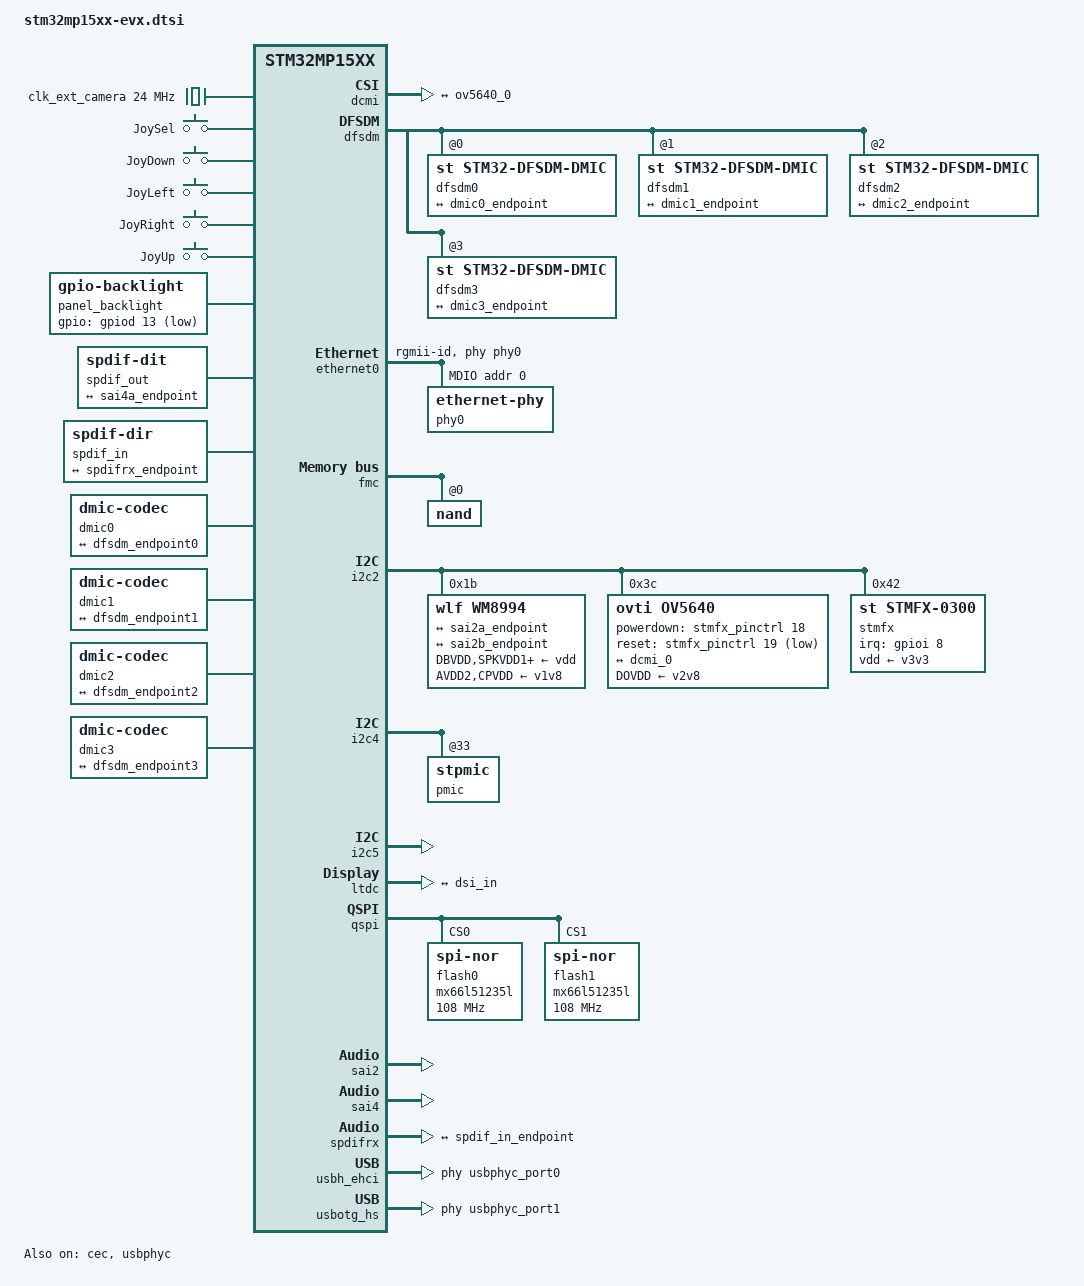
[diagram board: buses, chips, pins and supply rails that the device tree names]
// SPDX-License-Identifier: (GPL-2.0+ OR BSD-3-Clause)
/*
 * Copyright (C) STMicroelectronics 2017 - All Rights Reserved
 * Author: Ludovic Barre <ludovic.barre@st.com> for STMicroelectronics.
 */

#include <dt-bindings/input/input.h>
#include <dt-bindings/soc/stm32-hdp.h>

/ {
	clocks {
		clk_ext_camera: clk-ext-camera {
			#clock-cells = <0>;
			compatible = "fixed-clock";
			clock-frequency = <24000000>;
		};
	};

	joystick {
		compatible = "gpio-keys";
		#size-cells = <0>;
		pinctrl-0 = <&joystick_pins>;
		pinctrl-names = "default";
		button-0 {
			label = "JoySel";
			linux,code = <KEY_ENTER>;
			interrupt-parent = <&stmfx_pinctrl>;
			interrupts = <0 IRQ_TYPE_EDGE_RISING>;
		};
		button-1 {
			label = "JoyDown";
			linux,code = <KEY_DOWN>;
			interrupt-parent = <&stmfx_pinctrl>;
			interrupts = <1 IRQ_TYPE_EDGE_RISING>;
		};
		button-2 {
			label = "JoyLeft";
			linux,code = <KEY_LEFT>;
			interrupt-parent = <&stmfx_pinctrl>;
			interrupts = <2 IRQ_TYPE_EDGE_RISING>;
		};
		button-3 {
			label = "JoyRight";
			linux,code = <KEY_RIGHT>;
			interrupt-parent = <&stmfx_pinctrl>;
			interrupts = <3 IRQ_TYPE_EDGE_RISING>;
		};
		button-4 {
			label = "JoyUp";
			linux,code = <KEY_UP>;
			interrupt-parent = <&stmfx_pinctrl>;
			interrupts = <4 IRQ_TYPE_EDGE_RISING>;
		};
	};

	panel_backlight: panel-backlight {
		compatible = "gpio-backlight";
		gpios = <&gpiod 13 GPIO_ACTIVE_LOW>;
		default-on;
		status = "okay";
	};

	spdif_out: spdif-out {
		#sound-dai-cells = <0>;
		compatible = "linux,spdif-dit";
		status = "okay";

		spdif_out_port: port {
			spdif_out_endpoint: endpoint {
				remote-endpoint = <&sai4a_endpoint>;
			};
		};
	};

	spdif_in: spdif-in {
		#sound-dai-cells = <0>;
		compatible = "linux,spdif-dir";
		status = "okay";

		spdif_in_port: port {
			spdif_in_endpoint: endpoint {
				remote-endpoint = <&spdifrx_endpoint>;
			};
		};
	};

	sound {
		compatible = "audio-graph-card";
		label = "STM32MP1-EV";
		routing =
			"AIF1CLK" , "MCLK1",
			"AIF2CLK" , "MCLK1",
			"IN1LN" , "MICBIAS2",
			"DMIC2DAT" , "MICBIAS1",
			"DMIC1DAT" , "MICBIAS1";
		dais = <&sai2a_port &sai2b_port &sai4a_port &spdifrx_port
			&dfsdm0_port &dfsdm1_port &dfsdm2_port &dfsdm3_port>;
		status = "okay";
	};

	dmic0: dmic-0 {
		compatible = "dmic-codec";
		#sound-dai-cells = <1>;
		sound-name-prefix = "dmic0";
		status = "okay";

		port {
			dmic0_endpoint: endpoint {
				remote-endpoint = <&dfsdm_endpoint0>;
			};
		};
	};

	dmic1: dmic-1 {
		compatible = "dmic-codec";
		#sound-dai-cells = <1>;
		sound-name-prefix = "dmic1";
		status = "okay";

		port {
			dmic1_endpoint: endpoint {
				remote-endpoint = <&dfsdm_endpoint1>;
			};
		};
	};

	dmic2: dmic-2 {
		compatible = "dmic-codec";
		#sound-dai-cells = <1>;
		sound-name-prefix = "dmic2";
		status = "okay";

		port {
			dmic2_endpoint: endpoint {
				remote-endpoint = <&dfsdm_endpoint2>;
			};
		};
	};

	dmic3: dmic-3 {
		compatible = "dmic-codec";
		#sound-dai-cells = <1>;
		sound-name-prefix = "dmic3";
		status = "okay";

		port {
			dmic3_endpoint: endpoint {
				remote-endpoint = <&dfsdm_endpoint3>;
			};
		};
	};

	usb_phy_tuning: usb-phy-tuning {
		st,hs-dc-level = <2>;
		st,fs-rftime-tuning;
		st,hs-rftime-reduction;
		st,hs-current-trim = <15>;
		st,hs-impedance-trim = <1>;
		st,squelch-level = <3>;
		st,hs-rx-offset = <2>;
		st,no-lsfs-sc;
	};
};

&cec {
	pinctrl-names = "default";
	pinctrl-0 = <&cec_pins_a>;
	status = "okay";
};

&dcmi {
	status = "okay";
	pinctrl-names = "default", "sleep";
	pinctrl-0 = <&dcmi_pins_a>;
	pinctrl-1 = <&dcmi_sleep_pins_a>;

	port {
		dcmi_0: endpoint {
			remote-endpoint = <&ov5640_0>;
			bus-width = <8>;
			hsync-active = <0>;
			vsync-active = <0>;
			pclk-sample = <1>;
			pclk-max-frequency = <77000000>;
		};
	};
};

&dfsdm {
	pinctrl-names = "default", "sleep";
	pinctrl-0 = <&dfsdm_clkout_pins_a
		     &dfsdm_data1_pins_a &dfsdm_data3_pins_a>;
	pinctrl-1 = <&dfsdm_clkout_sleep_pins_a
		     &dfsdm_data1_sleep_pins_a &dfsdm_data3_sleep_pins_a>;
	spi-max-frequency = <2048000>;

	clocks = <&rcc DFSDM_K>, <&rcc ADFSDM_K>;
	clock-names = "dfsdm", "audio";
	status = "okay";

	dfsdm0: filter@0 {
		compatible = "st,stm32-dfsdm-dmic";
		st,adc-channels = <3>;
		st,adc-channel-names = "dmic_u1";
		st,adc-channel-types = "SPI_R";
		st,adc-channel-clk-src = "CLKOUT";
		st,filter-order = <3>;
		status = "okay";

		asoc_pdm0: dfsdm-dai {
			compatible = "st,stm32h7-dfsdm-dai";
			#sound-dai-cells = <0>;
			io-channels = <&dfsdm0 0>;
			status = "okay";

			dfsdm0_port: port {
				dfsdm_endpoint0: endpoint {
					remote-endpoint = <&dmic0_endpoint>;
				};
			};
		};
	};

	dfsdm1: filter@1 {
		compatible = "st,stm32-dfsdm-dmic";
		st,adc-channels = <1>;
		st,adc-channel-names = "dmic_u2";
		st,adc-channel-types = "SPI_F";
		st,adc-channel-clk-src = "CLKOUT";
		st,filter-order = <3>;
		status = "okay";

		asoc_pdm1: dfsdm-dai {
			compatible = "st,stm32h7-dfsdm-dai";
			#sound-dai-cells = <0>;
			io-channels = <&dfsdm1 0>;
			status = "okay";

			dfsdm1_port: port {
				dfsdm_endpoint1: endpoint {
					remote-endpoint = <&dmic1_endpoint>;
				};
			};
		};
	};

	dfsdm2: filter@2 {
		compatible = "st,stm32-dfsdm-dmic";
		st,adc-channels = <3>;
		st,adc-channel-names = "dmic_u3";
		st,adc-channel-types = "SPI_F";
		st,adc-channel-clk-src = "CLKOUT";
		st,filter-order = <3>;
		status = "okay";

		asoc_pdm2: dfsdm-dai {
			compatible = "st,stm32h7-dfsdm-dai";
			#sound-dai-cells = <0>;
			io-channels = <&dfsdm2 0>;
			status = "okay";

			dfsdm2_port: port {
				dfsdm_endpoint2: endpoint {
					remote-endpoint = <&dmic2_endpoint>;
				};
			};
		};
	};

	dfsdm3: filter@3 {
		compatible = "st,stm32-dfsdm-dmic";
		st,adc-channels = <1>;
		st,adc-channel-names = "dmic_u4";
		st,adc-channel-types = "SPI_R";
		st,adc-channel-clk-src = "CLKOUT";
		st,filter-order = <3>;
		status = "okay";

		asoc_pdm3: dfsdm-dai {
			compatible = "st,stm32h7-dfsdm-dai";
			#sound-dai-cells = <0>;
			io-channels = <&dfsdm3 0>;
			status = "okay";

			dfsdm3_port: port {
				dfsdm_endpoint3: endpoint {
					remote-endpoint = <&dmic3_endpoint>;
				};
			};
		};
	};
};

&ethernet0 {
	status = "okay";
	pinctrl-0 = <&ethernet0_rgmii_pins_a>;
	pinctrl-1 = <&ethernet0_rgmii_pins_sleep_a>;
	pinctrl-names = "default", "sleep";
	phy-mode = "rgmii-id";
	max-speed = <1000>;
	phy-handle = <&phy0>;

	mdio0 {
		#address-cells = <1>;
		#size-cells = <0>;
		compatible = "snps,dwmac-mdio";
		phy0: ethernet-phy@0 {
			reg = <0>;
		};
	};
};

&fmc {
	pinctrl-names = "default", "sleep";
	pinctrl-0 = <&fmc_pins_a>;
	pinctrl-1 = <&fmc_sleep_pins_a>;
	status = "okay";
	#address-cells = <1>;
	#size-cells = <0>;

	nand@0 {
		reg = <0>;
		nand-on-flash-bbt;
		#address-cells = <1>;
		#size-cells = <1>;
	};
};

&hdp {
	pinctrl-names = "default", "sleep";
	pinctrl-0 = <&hdp0_pins_a &hdp6_pins_a &hdp7_pins_a>;
	pinctrl-1 = <&hdp0_pins_sleep_a &hdp6_pins_sleep_a &hdp7_pins_sleep_a>;
	status = "disabled";

	muxing-hdp = <(STM32_HDP(0, HDP0_GPOVAL_0) |
		       STM32_HDP(6, HDP6_GPOVAL_6) |
		       STM32_HDP(7, HDP7_GPOVAL_7))>;
};

&i2c2 {
	pinctrl-names = "default", "sleep";
	pinctrl-0 = <&i2c2_pins_a>;
	pinctrl-1 = <&i2c2_pins_sleep_a>;
	i2c-scl-rising-time-ns = <185>;
	i2c-scl-falling-time-ns = <20>;
	status = "okay";
	/delete-property/dmas;
	/delete-property/dma-names;

	wm8994: wm8994@1b {
		compatible = "wlf,wm8994";
		#sound-dai-cells = <0>;
		reg = <0x1b>;
		status = "okay";

		gpio-controller;
		#gpio-cells = <2>;

		DBVDD-supply = <&vdd>;
		SPKVDD1-supply = <&vdd>;
		SPKVDD2-supply = <&vdd>;
		AVDD2-supply = <&v1v8>;
		CPVDD-supply = <&v1v8>;

		wlf,ldoena-always-driven;

		clocks = <&sai2a>;
		clock-names = "MCLK1";

		wlf,gpio-cfg = <0x8101 0xa100 0xa100 0xa100 0xa101 0xa101 0xa100 0xa101 0xa101 0xa101 0xa101>;

		ports {
			#address-cells = <1>;
			#size-cells = <0>;

			wm8994_tx_port: port@0 {
				reg = <0>;
				wm8994_tx_endpoint: endpoint {
					remote-endpoint = <&sai2a_endpoint>;
				};
			};

			wm8994_rx_port: port@1 {
				reg = <1>;
				wm8994_rx_endpoint: endpoint {
					remote-endpoint = <&sai2b_endpoint>;
				};
			};
		};
	};

	ov5640: camera@3c {
		compatible = "ovti,ov5640";
		reg = <0x3c>;
		clocks = <&clk_ext_camera>;
		clock-names = "xclk";
		DOVDD-supply = <&v2v8>;
		powerdown-gpios = <&stmfx_pinctrl 18 (GPIO_ACTIVE_HIGH | GPIO_PUSH_PULL)>;
		reset-gpios = <&stmfx_pinctrl 19 (GPIO_ACTIVE_LOW | GPIO_PUSH_PULL)>;
		rotation = <180>;
		status = "okay";

		port {
			ov5640_0: endpoint {
				remote-endpoint = <&dcmi_0>;
				bus-width = <8>;
				data-shift = <2>; /* lines 9:2 are used */
				hsync-active = <0>;
				vsync-active = <0>;
				pclk-sample = <1>;
				pclk-max-frequency = <77000000>;
			};
		};
	};

	stmfx: stmfx@42 {
		compatible = "st,stmfx-0300";
		reg = <0x42>;
		interrupts = <8 IRQ_TYPE_EDGE_RISING>;
		interrupt-parent = <&gpioi>;
		vdd-supply = <&v3v3>;

		stmfx_pinctrl: stmfx-pin-controller {
			compatible = "st,stmfx-0300-pinctrl";
			gpio-controller;
			#gpio-cells = <2>;
			interrupt-controller;
			#interrupt-cells = <2>;
			gpio-ranges = <&stmfx_pinctrl 0 0 24>;

			goodix_pins: goodix {
				pins = "gpio14";
				bias-pull-down;
			};

			joystick_pins: joystick {
				pins = "gpio0", "gpio1", "gpio2", "gpio3", "gpio4";
				bias-pull-down;
			};
		};
	};
};

&i2c4 {
	pmic: stpmic@33 {
		regulators {
			v1v8: ldo6 {
				regulator-enable-ramp-delay = <300000>;
			};
		};
	};
};

&i2c5 {
	pinctrl-names = "default", "sleep";
	pinctrl-0 = <&i2c5_pins_a>;
	pinctrl-1 = <&i2c5_pins_sleep_a>;
	i2c-scl-rising-time-ns = <185>;
	i2c-scl-falling-time-ns = <20>;
	/delete-property/dmas;
	/delete-property/dma-names;
	status = "okay";
};

&ltdc {
	status = "okay";

	port {
		#address-cells = <1>;
		#size-cells = <0>;

		ltdc_ep0_out: endpoint@0 {
			reg = <0>;
			remote-endpoint = <&dsi_in>;
		};
	};
};

&qspi {
	pinctrl-names = "default", "sleep";
	pinctrl-0 = <&qspi_clk_pins_a &qspi_bk1_pins_a &qspi_bk2_pins_a>;
	pinctrl-1 = <&qspi_clk_sleep_pins_a &qspi_bk1_sleep_pins_a &qspi_bk2_sleep_pins_a>;
	reg = <0x58003000 0x1000>, <0x70000000 0x4000000>;
	#address-cells = <1>;
	#size-cells = <0>;
	status = "okay";

	flash0: mx66l51235l@0 {
		compatible = "jedec,spi-nor";
		reg = <0>;
		spi-rx-bus-width = <4>;
		spi-max-frequency = <108000000>;
		#address-cells = <1>;
		#size-cells = <1>;
	};

	flash1: mx66l51235l@1 {
		compatible = "jedec,spi-nor";
		reg = <1>;
		spi-rx-bus-width = <4>;
		spi-max-frequency = <108000000>;
		#address-cells = <1>;
		#size-cells = <1>;
	};
};

&sai2 {
	clocks = <&rcc SAI2>, <&rcc PLL3_Q>, <&rcc PLL3_R>;
	pinctrl-names = "default", "sleep";
	pinctrl-0 = <&sai2a_pins_a>, <&sai2b_pins_a>;
	pinctrl-1 = <&sai2a_sleep_pins_a>, <&sai2b_sleep_pins_a>;
	clock-names = "pclk", "x8k", "x11k";
	status = "okay";

	sai2a: audio-controller@4400b004 {
		#clock-cells = <0>;
		dma-names = "tx";
		clocks = <&rcc SAI2_K>;
		clock-names = "sai_ck";
		status = "okay";

		sai2a_port: port {
			sai2a_endpoint: endpoint {
				remote-endpoint = <&wm8994_tx_endpoint>;
				format = "i2s";
				mclk-fs = <256>;
			};
		};
	};

	sai2b: audio-controller@4400b024 {
		dma-names = "rx";
		clocks = <&rcc SAI2_K>, <&sai2a>;
		clock-names = "sai_ck", "MCLK";
		status = "okay";

		sai2b_port: port {
			sai2b_endpoint: endpoint {
				remote-endpoint = <&wm8994_rx_endpoint>;
				format = "i2s";
				mclk-fs = <256>;
			};
		};
	};
};

&sai4 {
	clocks = <&rcc SAI4>, <&rcc PLL3_Q>, <&rcc PLL3_R>;
	clock-names = "pclk", "x8k", "x11k";
	status = "okay";

	sai4a: audio-controller@50027004 {
		pinctrl-names = "default", "sleep";
		pinctrl-0 = <&sai4a_pins_a>;
		pinctrl-1 = <&sai4a_sleep_pins_a>;
		dma-names = "tx";
		clocks = <&rcc SAI4_K>;
		clock-names = "sai_ck";
		st,iec60958;
		status = "okay";

		sai4a_port: port {
			sai4a_endpoint: endpoint {
				remote-endpoint = <&spdif_out_endpoint>;
			};
		};
	};
};

&sdmmc3 {
	pinctrl-names = "default", "opendrain", "sleep";
	pinctrl-0 = <&sdmmc3_b4_pins_a>;
	pinctrl-1 = <&sdmmc3_b4_od_pins_a>;
	pinctrl-2 = <&sdmmc3_b4_sleep_pins_a>;
	vmmc-supply = <&v3v3>;
	broken-cd;
	st,neg-edge;
	bus-width = <4>;
	status = "disabled";
};

&spdifrx {
	pinctrl-names = "default", "sleep";
	pinctrl-0 = <&spdifrx_pins_a>;
	pinctrl-1 = <&spdifrx_sleep_pins_a>;
	status = "okay";

	spdifrx_port: port {
		spdifrx_endpoint: endpoint {
			remote-endpoint = <&spdif_in_endpoint>;
		};
	};
};

&spi1 {
	pinctrl-names = "default", "sleep";
	pinctrl-0 = <&spi1_pins_a>;
	pinctrl-1 = <&spi1_sleep_pins_a>;
	status = "disabled";
};

&timers2 {
	/* spare dmas for other usage (un-delete to enable pwm capture) */
	/delete-property/dmas;
	/delete-property/dma-names;
	status = "disabled";
	pwm {
		pinctrl-0 = <&pwm2_pins_a>;
		pinctrl-1 = <&pwm2_sleep_pins_a>;
		pinctrl-names = "default", "sleep";
		status = "okay";
	};
	timer@1 {
		status = "okay";
	};
};

&timers8 {
	/delete-property/dmas;
	/delete-property/dma-names;
	status = "disabled";
	pwm {
		pinctrl-0 = <&pwm8_pins_a>;
		pinctrl-1 = <&pwm8_sleep_pins_a>;
		pinctrl-names = "default", "sleep";
		status = "okay";
	};
	timer@7 {
		status = "okay";
	};
};

&timers12 {
	/delete-property/dmas;
	/delete-property/dma-names;
	status = "disabled";
	pwm {
		pinctrl-0 = <&pwm12_pins_a>;
		pinctrl-1 = <&pwm12_sleep_pins_a>;
		pinctrl-names = "default", "sleep";
		status = "okay";
	};
	timer@11 {
		status = "okay";
	};
};

&usart3 {
	pinctrl-names = "default", "sleep", "idle";
	pinctrl-0 = <&usart3_pins_a>;
	pinctrl-1 = <&usart3_sleep_pins_a>;
	pinctrl-2 = <&usart3_idle_pins_a>;
	uart-has-rtscts;
	status = "disabled";
};

&usbh_ehci {
	phys = <&usbphyc_port0>;
	status = "okay";
};

&usbotg_hs {
	pinctrl-0 = <&usbotg_hs_pins_a>;
	pinctrl-names = "default";
	phys = <&usbphyc_port1 0>;
	phy-names = "usb2-phy";
	status = "okay";
};

&usbphyc {
	status = "okay";
};

&usbphyc_port0 {
	st,phy-tuning = <&usb_phy_tuning>;
};

&usbphyc_port1 {
	st,phy-tuning = <&usb_phy_tuning>;
};
